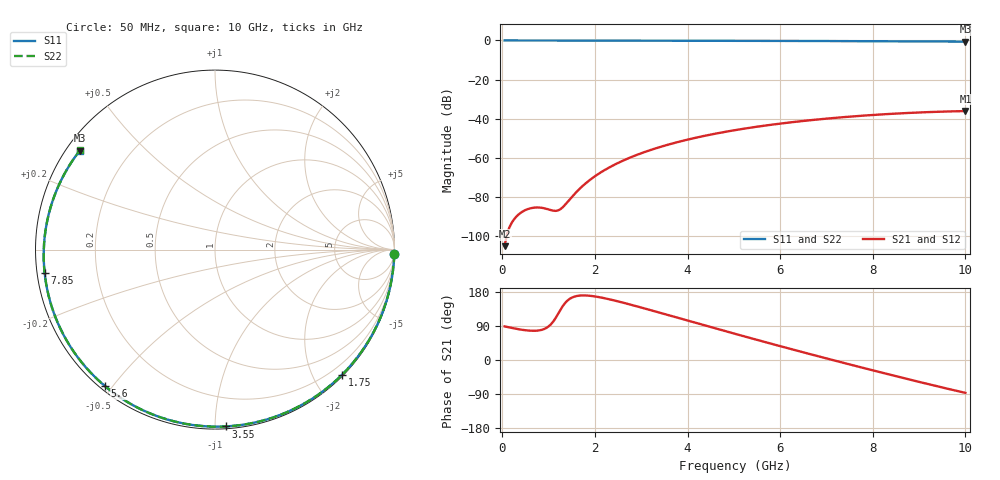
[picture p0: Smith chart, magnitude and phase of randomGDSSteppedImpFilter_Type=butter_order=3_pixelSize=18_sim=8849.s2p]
! freq	dB(S11)	phase(S11)	dB(S12)	phase(S12)
!  dB(S21)	phase(S21)	dB(S22)	phase(S22)
!S-par simulation data
#  GHz  S  DB  R 50
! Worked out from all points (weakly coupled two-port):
!   200 points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, 50 MHz to 10 GHz, reference 50 ohm
!   highest |S21| = -36.08 dB at 10 GHz (marker M1); lowest = -105.1 dB at 50 MHz (marker M2)
!   lowest |S11| = -0.6 dB at 10 GHz (marker M3), VSWR 29.16, Z = 1.9 + j16.3 ohm
!   |S11| at or under -10 dB: nowhere
!   |S22| runs from -0.6 to 0.0 dB; largest |S21 - S12| = 0
!   S11 on the Smith chart (normalised r, x): 50 MHz: 1, -91; 1.75 GHz: 0.02, -2.44; 3.55 GHz: 0.01, -1.06; 5.6 GHz: 0.01, -0.48; 7.85 GHz: 0.02, -0.07; 10 GHz: 0.04, +0.33
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0.05  -0.00 -1.3  -105.12 88.7  -105.12 88.7  -0.00 -1.3
0.4  -0.02 -10.4  -88.02 80.2  -88.02 80.2  -0.02 -10.4
0.75  -0.03 -19.4  -85.34 77.4  -85.34 77.4  -0.03 -19.4
1.1  -0.04 -28.4  -86.98 101.4  -86.98 101.4  -0.04 -28.3
1.5  -0.05 -38.4  -80.01 164.5  -80.01 164.5  -0.05 -38.4
1.75  -0.06 -44.6  -74.03 170.5  -74.03 170.5  -0.06 -44.6
2.05  -0.07 -51.9  -68.59 166.8  -68.59 166.8  -0.07 -51.9
2.45  -0.08 -61.4  -63.17 156.2  -63.17 156.2  -0.08 -61.4
2.9  -0.09 -71.9  -58.52 141.8  -58.52 141.8  -0.09 -71.9
3.4  -0.11 -83.2  -54.49 124.8  -54.49 124.8  -0.11 -83.2
3.55  -0.11 -86.5  -53.45 119.7  -53.45 119.7  -0.11 -86.5
4.25  -0.14 -101.5  -49.33 95.6  -49.33 95.6  -0.14 -101.5
5.05  -0.17 -117.9  -45.73 68.3  -45.73 68.3  -0.18 -117.9
5.6  -0.20 -128.8  -43.74 49.8  -43.74 49.8  -0.20 -128.9
6.15  -0.24 -139.5  -42.06 31.6  -42.06 31.6  -0.24 -139.6
6.7  -0.28 -150.1  -40.63 13.8  -40.63 13.8  -0.28 -150.2
7.3  -0.32 -161.6  -39.32 -5.4  -39.32 -5.4  -0.32 -161.7
7.85  -0.37 -172.2  -38.32 -22.6  -38.32 -22.6  -0.37 -172.3
8.35  -0.42 178.0  -37.57 -38.1  -37.57 -38.1  -0.42 177.9
8.8  -0.47 169.0  -37.01 -51.7  -37.01 -51.7  -0.47 168.9
9.2  -0.51 160.9  -36.61 -63.7  -36.61 -63.7  -0.51 160.7
10  -0.60 143.9  -36.08 -86.8  -36.08 -86.8  -0.60 143.7
